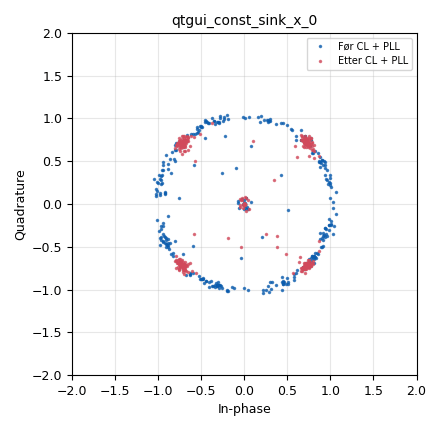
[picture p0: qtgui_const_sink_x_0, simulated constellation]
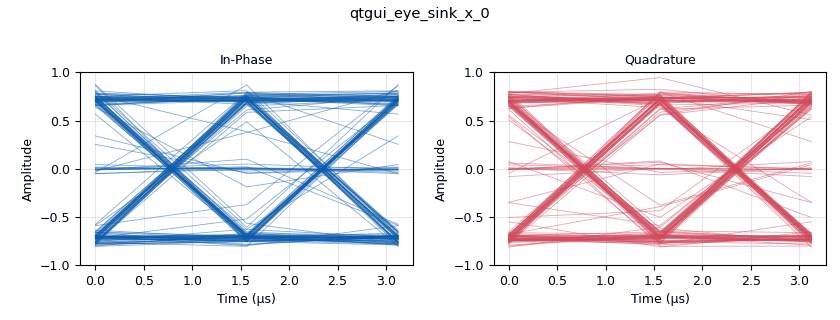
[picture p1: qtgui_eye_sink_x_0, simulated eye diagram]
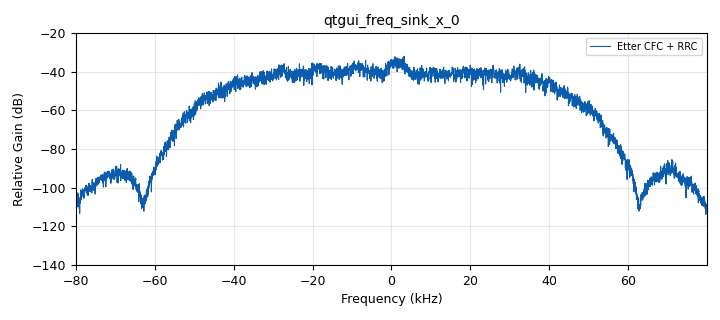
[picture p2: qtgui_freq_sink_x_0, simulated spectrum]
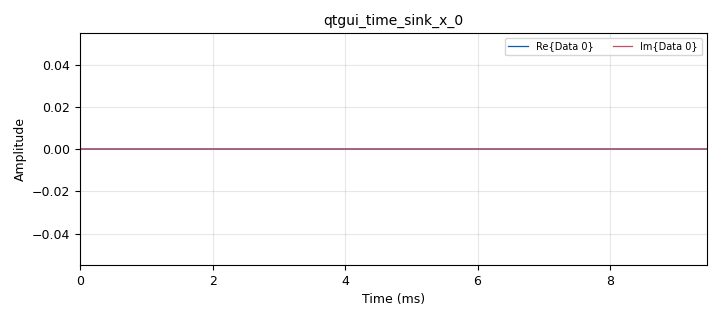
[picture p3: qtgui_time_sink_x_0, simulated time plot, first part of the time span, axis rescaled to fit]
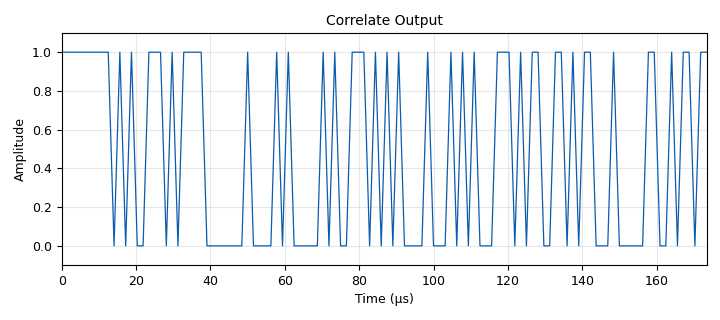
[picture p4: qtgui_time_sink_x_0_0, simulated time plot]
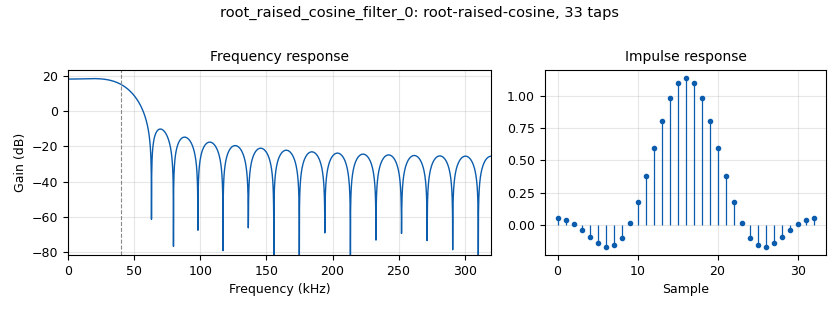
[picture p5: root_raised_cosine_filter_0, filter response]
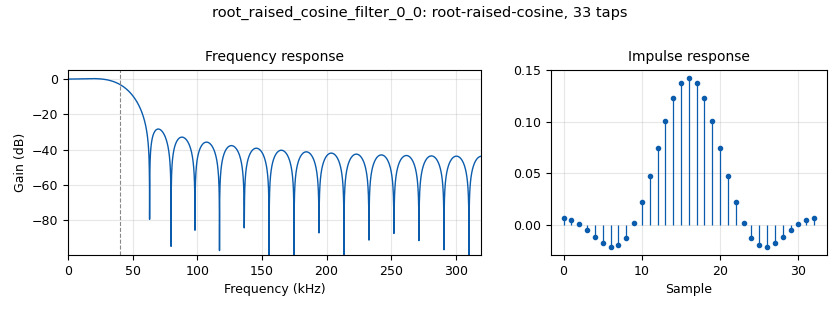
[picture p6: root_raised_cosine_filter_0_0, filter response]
options:
  parameters:
    author: Kolbjørn Bølgen
    generate_options: qt_gui
    id: MVP
    output_language: python
    title: Pakke & Burst Kommunikasjon
  states: {}

blocks:
- name: QPSK
  id: variable_constellation_rect
  parameters:
    const_points: '[0.707+0.707j, -0.707+0.707j, -0.707-0.707j, 0.707-0.707j]'
    imag_sect: '2'
    real_sect: '2'
    rot_sym: '4'
    sym_map: '[0,1,2,3]'
    w_imag_sect: '1'
    w_real_sect: '1'
  states: {}
- name: access_key
  id: variable
  parameters:
    comment: |-
      Training til frame-sync
      kasami-kode
    value: '''1101100111001110'''
  states: {}
- name: crc_size
  id: variable
  parameters:
    value: '4'
  states: {}
- name: datarate
  id: variable
  parameters:
    value: (header_size + payload_size_bytes+crc_size)*8*0.5*pakker_ps/(duty_cycle_percent/100)
  states: {}
- name: decimation
  id: variable
  parameters:
    value: int(sps/2)
  states: {}
- name: duty_cycle_percent
  id: variable
  parameters:
    value: '4'
  states: {}
- name: excess_BW
  id: variable
  parameters:
    value: '0.45'
  states: {}
- name: freq_offset
  id: variable_qtgui_range
  parameters:
    label: 'Channel: Frequency Offset'
    start: '-0.25'
    step: '0.001'
    stop: '0.25'
    value: '0.05'
  states: {}
- name: hdr_format
  id: variable
  parameters:
    comment: header_format_default
    value: digital.header_format_default(access_key, 0)
  states: {}
- name: header_size
  id: variable
  parameters:
    value: '6'
  states: {}
- name: noise_voltage
  id: variable_qtgui_range
  parameters:
    label: 'Channel: Noise Voltage'
    start: '0'
    step: '0.001'
    stop: '1'
    value: '0.005'
  states: {}
- name: padding
  id: variable
  parameters:
    value: (samp_rate/pakker_ps-signal_lengde-vindu_lengde)
  states: {}
- name: pakker_ps
  id: variable
  parameters:
    value: '40'
  states: {}
- name: payload_size_bytes
  id: variable
  parameters:
    value: '10'
  states: {}
- name: samp_rate
  id: variable
  parameters:
    value: int(datarate*sps)
  states: {}
- name: signal_lengde
  id: variable
  parameters:
    value: int((header_size+payload_size_bytes+crc_size)*4*sps)
  states: {}
- name: sps
  id: variable
  parameters:
    value: '8'
  states: {}
- name: taps
  id: variable
  parameters:
    comment: |-
      span * sps
      span = antall symboler om gangen
    value: sps*4
  states: {}
- name: thresh
  id: variable
  parameters:
    value: '1'
  states: {}
- name: timing_offset
  id: variable_qtgui_range
  parameters:
    label: 'Channel: Timing Offset'
    start: '0.999'
    step: '0.0001'
    stop: '1.001'
    value: '1.0005'
  states: {}
- name: vindu_lengde
  id: variable
  parameters:
    comment: |-
      10 % av pakkelengde ramp up 
       10 % av pakkelengde ramp ned
    value: int(signal_lengde*0.2)
  states: {}
- name: vindu_taps
  id: variable
  parameters:
    value: '[complex(t, t) for t in firdes.window(window.WIN_HANN, vindu_lengde, 0)]'
  states: {}
- name: analog_pwr_squelch_xx_0
  id: analog_pwr_squelch_xx
  parameters:
    alpha: '0.25'
    comment: |-
      Avg. Power_n = 
      (1-alpha)*Avg. Power_(n-1) + alpha*Current Power
    gate: 'True'
    ramp: '0'
    threshold: '-4'
    type: complex
  states: {}
- name: analog_random_uniform_source_x_0
  id: analog_random_uniform_source_x
  parameters:
    maximum: '256'
    minimum: '0'
    seed: '0'
    type: byte
  states: {}
- name: blocks_file_sink_0
  id: blocks_file_sink
  parameters:
    file: RxData.txt
    type: byte
  states: {}
- name: blocks_file_sink_1
  id: blocks_file_sink
  parameters:
    file: SimData/TxBurstData.bin
    type: complex
  states: {}
- name: blocks_file_sink_1_1
  id: blocks_file_sink
  parameters:
    file: SimData/TxKontData.bin
    type: complex
  states: {state: disabled}
- name: blocks_file_source_0
  id: blocks_file_source
  parameters:
    file: TxData/datapakker10bytesCounter
    repeat: 'False'
    type: byte
  states: {state: disabled}
- name: blocks_head_0
  id: blocks_head
  parameters:
    num_items: samp_rate
    type: complex
  states: {}
- name: blocks_head_0_1
  id: blocks_head
  parameters:
    num_items: samp_rate
    type: complex
  states: {state: disabled}
- name: blocks_message_debug_0
  id: blocks_message_debug
  parameters: {}
  states: {}
- name: blocks_pack_k_bits_bb_0
  id: blocks_pack_k_bits_bb
  parameters:
    comment: 2 bits per symbol
    k: '2'
  states: {}
- name: blocks_repack_bits_bb_0
  id: blocks_repack_bits_bb
  parameters:
    comment: bytes -> bits
    endianness: gr.GR_MSB_FIRST
    k: '8'
    l: '1'
    len_tag_key: '"packet_len"'
  states: {}
- name: blocks_repack_bits_bb_0_0
  id: blocks_repack_bits_bb
  parameters:
    align_output: 'True'
    endianness: gr.GR_MSB_FIRST
    k: '1'
    l: '8'
    len_tag_key: '"packet_len"'
  states: {}
- name: blocks_skiphead_0_0
  id: blocks_skiphead
  parameters:
    num_items: int(taps/2)
    type: complex
  states: {}
- name: blocks_stream_to_tagged_stream_0
  id: blocks_stream_to_tagged_stream
  parameters:
    comment: payload
    len_tag_key: '"packet_len"'
    packet_len: payload_size_bytes
    type: byte
  states: {}
- name: blocks_stream_to_tagged_stream_1
  id: blocks_stream_to_tagged_stream
  parameters:
    len_tag_key: '"burst_len"'
    packet_len: signal_lengde
    type: complex
  states: {}
- name: blocks_tagged_stream_multiply_length_0
  id: blocks_tagged_stream_multiply_length
  parameters:
    c: '4'
    lengthtagname: packet_len
    type: complex
  states: {}
- name: blocks_tagged_stream_mux_0_0_0
  id: blocks_tagged_stream_mux
  parameters:
    comment: payload + 16 bytes
    lengthtagname: packet_len
    ninputs: '2'
    type: byte
  states: {}
- name: blocks_throttle2_0
  id: blocks_throttle2
  parameters:
    samples_per_second: samp_rate
    type: complex
  states: {}
- name: blocks_uchar_to_float_0_0_0
  id: blocks_uchar_to_float
  parameters: {}
  states: {}
- name: blocks_unpack_k_bits_bb_0
  id: blocks_unpack_k_bits_bb
  parameters:
    comment: 2 bits per symbol
    k: '2'
  states: {}
- name: channels_channel_model_0
  id: channels_channel_model
  parameters:
    block_tags: 'True'
    epsilon: timing_offset
    freq_offset: freq_offset
    noise_voltage: noise_voltage
    seed: '0'
    taps: '1'
  states: {}
- name: digital_burst_shaper_xx_0
  id: digital_burst_shaper_xx
  parameters:
    insert_phasing: 'True'
    length_tag_name: '"burst_len"'
    post_padding: int(padding/2)
    pre_padding: int(padding/2)
    type: complex
    window: vindu_taps
  states: {}
- name: digital_constellation_decoder_cb_0
  id: digital_constellation_decoder_cb
  parameters:
    constellation: QPSK
  states: {}
- name: digital_constellation_encoder_bc_0
  id: digital_constellation_encoder_bc
  parameters:
    constellation: QPSK
  states: {}
- name: digital_correlate_access_code_xx_ts_0
  id: digital_correlate_access_code_xx_ts
  parameters:
    access_code: access_key
    comment: Preamble/Header Detector + Frame Sync
    tagname: packet_len
    threshold: thresh
    type: byte
  states: {}
- name: digital_costas_loop_cc_0
  id: digital_costas_loop_cc
  parameters:
    comment: |-
      FFC + Fase
      Høy LBW: rask respons  støy sensitiv
      Lav LBW: treig respons, støy insensitiv
    order: '4'
    w: 2*pi*0.04
  states: {}
- name: digital_crc32_bb_0
  id: digital_crc32_bb
  parameters:
    check: 'False'
    comment: 4 bytes CRC
    lengthtagname: '"packet_len"'
    packed: 'True'
  states: {}
- name: digital_crc32_bb_1
  id: digital_crc32_bb
  parameters:
    check: 'True'
    lengthtagname: '"packet_len"'
    packed: 'True'
  states: {}
- name: digital_diff_decoder_bb_0
  id: digital_diff_decoder_bb
  parameters:
    coding: digital.DIFF_DIFFERENTIAL
    comment: Fjerner Fasetvetydighet
    modulus: '4'
  states: {}
- name: digital_diff_encoder_bb_0
  id: digital_diff_encoder_bb
  parameters:
    coding: digital.DIFF_DIFFERENTIAL
    modulus: '4'
  states: {}
- name: digital_fll_band_edge_cc_0
  id: digital_fll_band_edge_cc
  parameters:
    comment: CFC + RRC filter
    filter_size: '64'
    rolloff: excess_BW
    samps_per_sym: sps
    type: cc
    w: '0.05'
  states: {}
- name: digital_protocol_formatter_bb_0
  id: digital_protocol_formatter_bb
  parameters:
    comment: |-
      6 bytes header
      2 bytes: Access_key
      4 bytes: pakkelengde, repeat x 2
    format: hdr_format
    len_tag_key: '"packet_len"'
  states: {}
- name: digital_symbol_sync_xx_1
  id: digital_symbol_sync_xx
  parameters:
    constellation: digital.constellation_qpsk().base()
    damping: sqrt(2)/2
    loop_bw: 2*pi*0.025
    max_dev: '1.5'
    nfilters: '32'
    osps: '1'
    pfb_mf_taps: ''
    resamp_type: digital.IR_MMSE_8TAP
    sps: '2'
    ted_gain: '1'
    ted_type: digital.TED_GARDNER
    type: cc
  states: {}
- name: import_0
  id: import
  parameters:
    imports: from math import pi
  states: {}
- name: import_0_0
  id: import
  parameters:
    imports: from math import sqrt
  states: {}
- name: low_pass_filter_0
  id: low_pass_filter
  parameters:
    cutoff_freq: 200e3
    decim: '1'
    gain: '1'
    samp_rate: samp_rate
    type: fir_filter_ccf
    width: 1e3
    win: window.WIN_HAMMING
  states: {state: disabled}
- name: pdu_tagged_stream_to_pdu_2
  id: pdu_tagged_stream_to_pdu
  parameters:
    tag: packet_len
    type: byte
  states: {}
- name: qtgui_const_sink_x_0
  id: qtgui_const_sink_x
  parameters:
    label1: Før CL + PLL
    label2: Etter CL + PLL
    nconnections: '2'
    size: int(signal_lengde/2)
    type: complex
    update_time: '0.1'
  states: {}
- name: qtgui_eye_sink_x_0
  id: qtgui_eye_sink_x
  parameters:
    color1: green
    color2: yellow
    label1: In-Phase
    label2: Quadrature
    marker1: '1'
    samp_per_symbol: '1'
    size: int(signal_lengde/2)
    srate: samp_rate
    type: complex
    update_time: '0.1'
  states: {}
- name: qtgui_freq_sink_x_0
  id: qtgui_freq_sink_x
  parameters:
    average: '0.2'
    bw: samp_rate/decimation
    comment: Signal BW = +- (1+excess_BW)* datarate/2
    fc: '0'
    fftsize: '4096'
    label1: Etter CFC + RRC
    type: complex
    update_time: '0.1'
    wintype: window.WIN_HANN
    ymax: '-20'
  states: {}
- name: qtgui_freq_sink_x_0_0
  id: qtgui_freq_sink_x
  parameters:
    average: '0.2'
    bw: samp_rate
    comment: Signal BW = +- (1+excess_BW)* datarate/2
    fc: '0'
    fftsize: '4096'
    label1: Etter CFC + RRC
    type: complex
    update_time: '0.1'
    wintype: window.WIN_HANN
    ymax: '-20'
  states: {state: disabled}
- name: qtgui_time_sink_x_0
  id: qtgui_time_sink_x
  parameters:
    grid: 'True'
    size: int(samp_rate)
    srate: samp_rate
    tr_level: '0.5'
    tr_mode: qtgui.TRIG_MODE_TAG
    tr_tag: '"burst_len"'
    type: complex
    ymax: '1.5'
    ymin: '-1.5'
  states: {}
- name: qtgui_time_sink_x_0_0
  id: qtgui_time_sink_x
  parameters:
    gui_hint: 1,2,1,2
    label1: ''
    name: Correlate Output
    size: (payload_size_bytes+4)*8
    srate: samp_rate
    tr_delay: '0.0'
    tr_level: '0.1'
    tr_mode: qtgui.TRIG_MODE_TAG
    tr_tag: '"packet_len"'
    type: float
    ymax: '1.1'
    ymin: '-0.1'
  states: {}
- name: root_raised_cosine_filter_0
  id: root_raised_cosine_filter
  parameters:
    alpha: excess_BW
    gain: sps
    interp: sps
    ntaps: taps
    samp_rate: samp_rate
    sym_rate: samp_rate/sps
    type: interp_fir_filter_ccf
  states: {}
- name: root_raised_cosine_filter_0_0
  id: root_raised_cosine_filter
  parameters:
    alpha: excess_BW
    decim: decimation
    gain: '1'
    interp: sps
    ntaps: taps
    samp_rate: samp_rate
    sym_rate: samp_rate/sps
    type: fir_filter_ccf
  states: {}
- name: virtual_sink_0
  id: virtual_sink
  parameters:
    comment: Tx
    stream_id: Pluto
  states: {}
- name: virtual_sink_0_2_1
  id: virtual_sink
  parameters:
    stream_id: Pakke
  states: {}
- name: virtual_source_0
  id: virtual_source
  parameters:
    comment: Rx
    stream_id: Pluto
  states: {}
- name: virtual_source_1
  id: virtual_source
  parameters:
    stream_id: Pakke
  states: {}

connections:
- [analog_pwr_squelch_xx_0, '0', digital_fll_band_edge_cc_0, '0']
- [analog_pwr_squelch_xx_0, '0', low_pass_filter_0, '0']
- [analog_random_uniform_source_x_0, '0', blocks_stream_to_tagged_stream_0, '0']
- [blocks_file_source_0, '0', blocks_stream_to_tagged_stream_0, '0']
- [blocks_head_0, '0', blocks_file_sink_1, '0']
- [blocks_head_0_1, '0', blocks_file_sink_1_1, '0']
- [blocks_pack_k_bits_bb_0, '0', digital_diff_encoder_bb_0, '0']
- [blocks_repack_bits_bb_0, '0', virtual_sink_0_2_1, '0']
- [blocks_repack_bits_bb_0_0, '0', digital_crc32_bb_1, '0']
- [blocks_skiphead_0_0, '0', blocks_tagged_stream_multiply_length_0, '0']
- [blocks_stream_to_tagged_stream_0, '0', digital_crc32_bb_0, '0']
- [blocks_stream_to_tagged_stream_1, '0', digital_burst_shaper_xx_0, '0']
- [blocks_tagged_stream_multiply_length_0, '0', blocks_stream_to_tagged_stream_1, '0']
- [blocks_tagged_stream_mux_0_0_0, '0', blocks_repack_bits_bb_0, '0']
- [blocks_throttle2_0, '0', blocks_head_0, '0']
- [blocks_throttle2_0, '0', channels_channel_model_0, '0']
- [blocks_throttle2_0, '0', qtgui_time_sink_x_0, '0']
- [blocks_uchar_to_float_0_0_0, '0', qtgui_time_sink_x_0_0, '0']
- [blocks_unpack_k_bits_bb_0, '0', digital_correlate_access_code_xx_ts_0, '0']
- [channels_channel_model_0, '0', virtual_sink_0, '0']
- [digital_burst_shaper_xx_0, '0', blocks_throttle2_0, '0']
- [digital_constellation_decoder_cb_0, '0', digital_diff_decoder_bb_0, '0']
- [digital_constellation_encoder_bc_0, '0', root_raised_cosine_filter_0, '0']
- [digital_correlate_access_code_xx_ts_0, '0', blocks_repack_bits_bb_0_0, '0']
- [digital_correlate_access_code_xx_ts_0, '0', blocks_uchar_to_float_0_0_0, '0']
- [digital_costas_loop_cc_0, '0', digital_constellation_decoder_cb_0, '0']
- [digital_costas_loop_cc_0, '0', qtgui_const_sink_x_0, '1']
- [digital_costas_loop_cc_0, '0', qtgui_eye_sink_x_0, '0']
- [digital_crc32_bb_0, '0', blocks_tagged_stream_mux_0_0_0, '1']
- [digital_crc32_bb_0, '0', digital_protocol_formatter_bb_0, '0']
- [digital_crc32_bb_1, '0', blocks_file_sink_0, '0']
- [digital_crc32_bb_1, '0', pdu_tagged_stream_to_pdu_2, '0']
- [digital_diff_decoder_bb_0, '0', blocks_unpack_k_bits_bb_0, '0']
- [digital_diff_encoder_bb_0, '0', digital_constellation_encoder_bc_0, '0']
- [digital_fll_band_edge_cc_0, '0', root_raised_cosine_filter_0_0, '0']
- [digital_protocol_formatter_bb_0, '0', blocks_tagged_stream_mux_0_0_0, '0']
- [digital_symbol_sync_xx_1, '0', digital_costas_loop_cc_0, '0']
- [digital_symbol_sync_xx_1, '0', qtgui_const_sink_x_0, '0']
- [low_pass_filter_0, '0', digital_fll_band_edge_cc_0, '0']
- [low_pass_filter_0, '0', qtgui_freq_sink_x_0_0, '0']
- [pdu_tagged_stream_to_pdu_2, pdus, blocks_message_debug_0, log]
- [root_raised_cosine_filter_0, '0', blocks_head_0_1, '0']
- [root_raised_cosine_filter_0, '0', blocks_skiphead_0_0, '0']
- [root_raised_cosine_filter_0_0, '0', digital_symbol_sync_xx_1, '0']
- [root_raised_cosine_filter_0_0, '0', qtgui_freq_sink_x_0, '0']
- [virtual_source_0, '0', analog_pwr_squelch_xx_0, '0']
- [virtual_source_1, '0', blocks_pack_k_bits_bb_0, '0']

metadata:
  file_format: 1
  grc_version: 3.10.9.2
